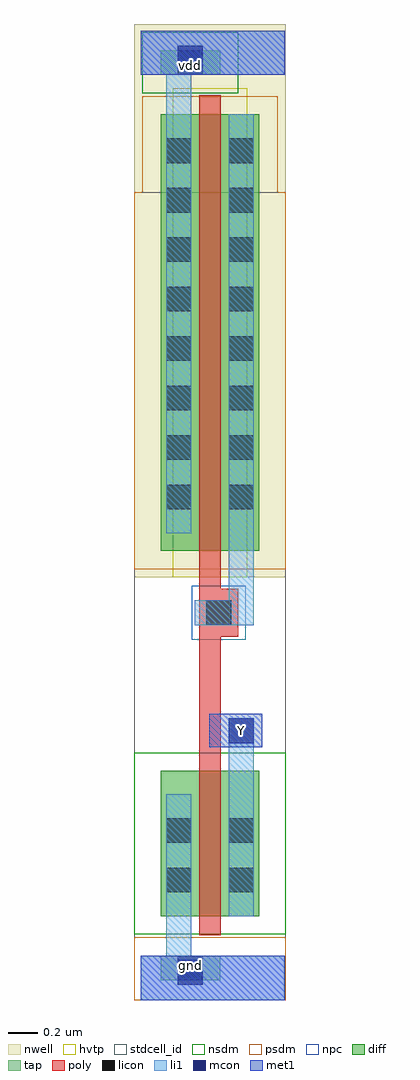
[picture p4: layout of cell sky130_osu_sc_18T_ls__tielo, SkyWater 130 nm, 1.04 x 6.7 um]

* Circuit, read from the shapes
.subckt sky130_osu_sc_18T_ls__tielo Y gnd vdd
XM1 Y n1 gnd gnd sky130_fd_pr__nfet_01v8 w=1 l=0.15
XM2 n1 n1 vdd vdd sky130_fd_pr__pfet_01v8_hvt w=3 l=0.15
.ends

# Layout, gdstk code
import gdstk
lib = gdstk.Library(unit=1e-6, precision=1e-09)
def R(c, l, rs):  # rectangles x0, y0, x1, y1
    for r in rs: c.add(gdstk.rectangle(r[:2], r[2:], *l))
def A(c, l, x, y, w, h, nx, ny, dx, dy):  # array of equal rectangles
    R(c, l, [(x+i*dx, y+j*dy, x+i*dx+w, y+j*dy+h) for i in range(nx) for j in range(ny)])
nwell = (64, 20)
diff = (65, 20)
tap = (65, 44)
poly = (66, 20)
licon = (66, 44)
li1 = (67, 20)
mcon = (67, 44)
met1 = (68, 20)
hvtp = (78, 44)
stdcell_id = (81, 4)
nsdm = (93, 44)
psdm = (94, 20)
npc = (95, 20)

sky130_osu_sc_18t_ls__ti = lib.new_cell('sky130_osu_sc_18T_ls__tielo')
R(sky130_osu_sc_18t_ls__ti, nwell, [(-0.045,2.905,0.995,6.705)])
R(sky130_osu_sc_18t_ls__ti, diff, [(0.135,0.575,0.815,1.575), (0.135,3.085,0.815,6.085)])
R(sky130_osu_sc_18t_ls__ti, tap, [(0.135,0.135,0.545,0.305), (0.135,6.355,0.545,6.525)])
R(sky130_osu_sc_18t_ls__ti, poly, [(0.4,0.445,0.55,2.495), (0.4,2.495,0.67,2.825), (0.4,2.825,0.55,6.215)])
A(sky130_osu_sc_18t_ls__ti, licon, 0.175, 3.37, 0.17, 0.17, 1, 8, 0, 0.34)
A(sky130_osu_sc_18t_ls__ti, licon, 0.605, 3.37, 0.17, 0.17, 1, 8, 0, 0.34)
R(sky130_osu_sc_18t_ls__ti, licon, [(0.255,0.135,0.425,0.305), (0.175,0.74,0.345,0.91), (0.605,0.74,0.775,0.91), (0.175,1.08,0.345,1.25), (0.605,1.08,0.775,1.25), (0.45,2.575,0.62,2.745), (0.255,6.355,0.425,6.525)])
R(sky130_osu_sc_18t_ls__ti, li1, [(0,0,0.99,0.305), (0.175,0.305,0.345,1.415), (0.605,0.575,0.775,1.935), (0.37,2.575,0.775,2.745), (0.605,2.745,0.775,6.085), (0.175,3.205,0.345,6.355), (0,6.355,0.99,6.66)])
R(sky130_osu_sc_18t_ls__ti, mcon, [(0.255,0.105,0.425,0.275), (0.605,1.765,0.775,1.935), (0.255,6.385,0.425,6.555)])
R(sky130_osu_sc_18t_ls__ti, met1, [(0,0,0.99,0.305), (0.47,1.735,0.835,1.965), (0,6.355,0.99,6.66)])
R(sky130_osu_sc_18t_ls__ti, hvtp, [(0.22,2.905,0.73,6.265)])
R(sky130_osu_sc_18t_ls__ti, stdcell_id, [(-0.045,0,0.995,5.55)])
R(sky130_osu_sc_18t_ls__ti, nsdm, [(-0.045,0.45,0.995,1.7), (0.01,6.23,0.67,6.65)])
R(sky130_osu_sc_18t_ls__ti, psdm, [(-0.045,0,0.995,0.43), (-0.045,2.96,0.995,5.55), (0.01,5.55,0.94,6.21)])
R(sky130_osu_sc_18t_ls__ti, npc, [(0.35,2.475,0.72,2.845)])
sky130_osu_sc_18t_ls__ti.add(gdstk.Label('gnd', (0.34,0.24), layer=68, texttype=16))
sky130_osu_sc_18t_ls__ti.add(gdstk.Label('vdd', (0.34,6.42), layer=68, texttype=16))
sky130_osu_sc_18t_ls__ti.add(gdstk.Label('Y', (0.69,1.85), layer=68, texttype=5))

lib.write_gds('sky130_osu_sc_18T_ls__tielo.gds')
